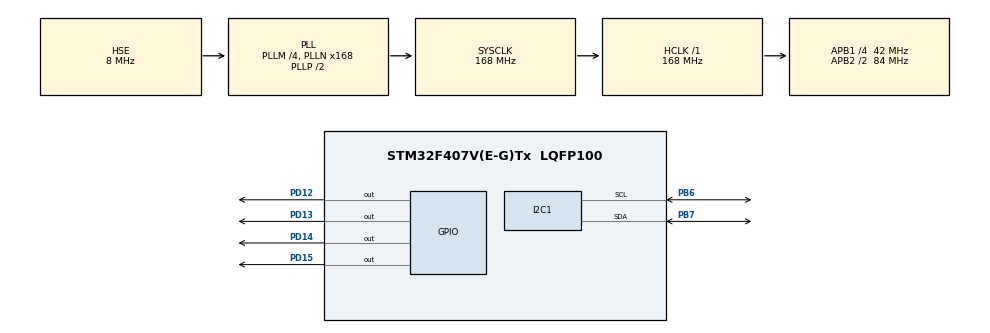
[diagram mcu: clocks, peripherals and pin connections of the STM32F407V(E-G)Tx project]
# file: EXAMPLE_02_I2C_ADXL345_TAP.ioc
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Mcu.Family=STM32F4
Mcu.Name=STM32F407V(E-G)Tx
Mcu.Package=LQFP100
NVIC.PriorityGroup=NVIC_PRIORITYGROUP_4
PB6.Mode=I2C
PB6.Signal=I2C1_SCL
PB7.Mode=I2C
PB7.Signal=I2C1_SDA
PD12.Signal=GPIO_Output
PD13.Signal=GPIO_Output
PD14.Signal=GPIO_Output
PD15.Signal=GPIO_Output
PH0-OSC_IN.Mode=HSE-External-Oscillator
PH0-OSC_IN.Signal=RCC_OSC_IN
PH1-OSC_OUT.Mode=HSE-External-Oscillator
PH1-OSC_OUT.Signal=RCC_OSC_OUT
ProjectManager.HeapSize=0x200
ProjectManager.StackSize=0x400
ProjectManager.TargetToolchain=STM32CubeIDE
RCC.48MHZClocksFreq_Value=84000000
RCC.AHBFreq_Value=168000000
RCC.APB1CLKDivider=RCC_HCLK_DIV4
RCC.APB1Freq_Value=42000000
RCC.APB1TimFreq_Value=84000000
RCC.APB2CLKDivider=RCC_HCLK_DIV2
RCC.APB2Freq_Value=84000000
RCC.APB2TimFreq_Value=168000000
RCC.CortexFreq_Value=168000000
RCC.HCLKFreq_Value=168000000
RCC.HSE_VALUE=8000000
RCC.HSI_VALUE=16000000
RCC.LSE_VALUE=32768
RCC.PLLM=4
RCC.PLLN=168
RCC.PLLSourceVirtual=RCC_PLLSOURCE_HSE
RCC.SYSCLKFreq_VALUE=168000000
RCC.SYSCLKSource=RCC_SYSCLKSOURCE_PLLCLK
RCC.VCOOutputFreq_Value=336000000
board=custom

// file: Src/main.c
/* USER CODE BEGIN Header */
/**
  ******************************************************************************
  * @file           : main.c
  * @brief          : Main program body
  ******************************************************************************
  * @attention
  *
  * <h2><center>&copy; Copyright (c) 2019 STMicroelectronics.
  * All rights reserved.</center></h2>
  *
  * This software component is licensed by ST under BSD 3-Clause license,
  * the "License"; You may not use this file except in compliance with the
  * License. You may obtain a copy of the License at:
  *                        opensource.org/licenses/BSD-3-Clause
  *
  ******************************************************************************
  */
/* USER CODE END Header */

#include "main.h"

/* USER CODE BEGIN Includes */

#define ADXL_Address 0x53 << 1	// Ya da 0xA6 olarak kullanabilirsin

/* USER CODE END Includes */

I2C_HandleTypeDef hi2c1;

/* USER CODE BEGIN PV */

uint8_t i;
uint8_t status;
uint8_t data_rec;

/* USER CODE END PV */

void SystemClock_Config(void);
static void MX_GPIO_Init(void);
static void MX_I2C1_Init(void);
/* USER CODE BEGIN PFP */

void SCAN_I2C_Slave_Address();
void ADXL_Init();
void ADXL_Write(uint8_t reg, uint8_t value);
uint8_t ADXL_Read(uint8_t reg, uint8_t numberOfBytes);

/* USER CODE END PFP */

int main(void)
{

  /* MCU Configuration--------------------------------------------------------*/

  /* Reset of all peripherals, Initializes the Flash interface and the Systick. */
  HAL_Init();

  /* Configure the system clock */
  SystemClock_Config();

  /* Initialize all configured peripherals */
  MX_GPIO_Init();
  MX_I2C1_Init();
  /* USER CODE BEGIN 2 */

  //SCAN_I2C_Slave_Address();

  ADXL_Init();

  /* USER CODE END 2 */

  /* Infinite loop */
  while (1)
  {

    /* USER CODE BEGIN 3 */
	  status = ADXL_Read(0x30, 1);	// interrupt source register(0x30)

	  if((status >> 5) & 0x01)
	  {
		  // Double tap
		  HAL_GPIO_TogglePin(GPIOD, GPIO_PIN_13 | GPIO_PIN_15);
	  }
	  else if((status >> 6) & 0x01)
	  {
		  // Single tap
		  HAL_GPIO_TogglePin(GPIOD, GPIO_PIN_12 | GPIO_PIN_14);
	  }
  }
  /* USER CODE END 3 */
}

void SystemClock_Config(void)
{
  RCC_OscInitTypeDef RCC_OscInitStruct = {0};
  RCC_ClkInitTypeDef RCC_ClkInitStruct = {0};

  /** Configure the main internal regulator output voltage
  */
  __HAL_RCC_PWR_CLK_ENABLE();
  __HAL_PWR_VOLTAGESCALING_CONFIG(PWR_REGULATOR_VOLTAGE_SCALE1);
  /** Initializes the CPU, AHB and APB busses clocks
  */
  RCC_OscInitStruct.OscillatorType = RCC_OSCILLATORTYPE_HSE;
  RCC_OscInitStruct.HSEState = RCC_HSE_ON;
  RCC_OscInitStruct.PLL.PLLState = RCC_PLL_ON;
  RCC_OscInitStruct.PLL.PLLSource = RCC_PLLSOURCE_HSE;
  RCC_OscInitStruct.PLL.PLLM = 4;
  RCC_OscInitStruct.PLL.PLLN = 168;
  RCC_OscInitStruct.PLL.PLLP = RCC_PLLP_DIV2;
  RCC_OscInitStruct.PLL.PLLQ = 4;
  if (HAL_RCC_OscConfig(&RCC_OscInitStruct) != HAL_OK)
  {
    Error_Handler();
  }
  /** Initializes the CPU, AHB and APB busses clocks
  */
  RCC_ClkInitStruct.ClockType = RCC_CLOCKTYPE_HCLK|RCC_CLOCKTYPE_SYSCLK
                              |RCC_CLOCKTYPE_PCLK1|RCC_CLOCKTYPE_PCLK2;
  RCC_ClkInitStruct.SYSCLKSource = RCC_SYSCLKSOURCE_PLLCLK;
  RCC_ClkInitStruct.AHBCLKDivider = RCC_SYSCLK_DIV1;
  RCC_ClkInitStruct.APB1CLKDivider = RCC_HCLK_DIV4;
  RCC_ClkInitStruct.APB2CLKDivider = RCC_HCLK_DIV2;

  if (HAL_RCC_ClockConfig(&RCC_ClkInitStruct, FLASH_LATENCY_5) != HAL_OK)
  {
    Error_Handler();
  }
}

static void MX_I2C1_Init(void)
{

  hi2c1.Instance = I2C1;
  hi2c1.Init.ClockSpeed = 100000;
  hi2c1.Init.DutyCycle = I2C_DUTYCYCLE_2;
  hi2c1.Init.OwnAddress1 = 0;
  hi2c1.Init.AddressingMode = I2C_ADDRESSINGMODE_7BIT;
  hi2c1.Init.DualAddressMode = I2C_DUALADDRESS_DISABLE;
  hi2c1.Init.OwnAddress2 = 0;
  hi2c1.Init.GeneralCallMode = I2C_GENERALCALL_DISABLE;
  hi2c1.Init.NoStretchMode = I2C_NOSTRETCH_DISABLE;
  if (HAL_I2C_Init(&hi2c1) != HAL_OK)
  {
    Error_Handler();
  }

}

static void MX_GPIO_Init(void)
{
  GPIO_InitTypeDef GPIO_InitStruct = {0};

  /* GPIO Ports Clock Enable */
  __HAL_RCC_GPIOH_CLK_ENABLE();
  __HAL_RCC_GPIOD_CLK_ENABLE();
  __HAL_RCC_GPIOB_CLK_ENABLE();

  /*Configure GPIO pin Output Level */
  HAL_GPIO_WritePin(GPIOD, GPIO_PIN_12|GPIO_PIN_13|GPIO_PIN_14|GPIO_PIN_15, GPIO_PIN_RESET);

  /*Configure GPIO pins : PD12 PD13 PD14 PD15 */
  GPIO_InitStruct.Pin = GPIO_PIN_12|GPIO_PIN_13|GPIO_PIN_14|GPIO_PIN_15;
  GPIO_InitStruct.Mode = GPIO_MODE_OUTPUT_PP;
  GPIO_InitStruct.Pull = GPIO_NOPULL;
  GPIO_InitStruct.Speed = GPIO_SPEED_FREQ_LOW;
  HAL_GPIO_Init(GPIOD, &GPIO_InitStruct);

}

/* USER CODE BEGIN 4 */

void SCAN_I2C_Slave_Address()
{
	for(i = 0; i <= 255; i++)
	{
		if(HAL_I2C_IsDeviceReady(&hi2c1, i, 1, 10) == HAL_OK)
		{
			HAL_GPIO_TogglePin(GPIOD, GPIO_PIN_15);
			break;
		}
	}
}

void ADXL_Init()
{
	// Sensör doğru çalışıyormu diye DEVID kontrol bitindeki veriyi çekip, normalde olması gerekn 0xE5 değerine eşit olup olmadığını kontol ediyorum.
	//uint8_t a = ADXL_Read(0x00, 1);

	// Sensörden değer okuma işlemini başlatmak için öncelikle Power_Ctrl bitlerini resetliyorum
	ADXL_Write(0x2D, 0);

	// Sensörün ölçüm bitini set, wake up bitini reset ve frekansını 8Mhz'e ayarlayarak ölçüm yapmaya hazır hale getiriyorum
	ADXL_Write(0x2D, 0x08);

	// Z eksenini basma algılama için etkinleştiriyorum
	ADXL_Write(0x2A, 0x01);

	// Tek basma eşiğini ayarlıyorum. Gireceğiniz değer ile 62.5mg/LSB çarpılarak g değeri hesaplanır. Örneğin 40*0.0625 = 2.5g
	ADXL_Write(0x1D, 40);

	// Tek basma süresini ayarlıyorum. Gireceğiniz değer ile 625uS/LSB çarpılarak eşik süresi ayarlanır. Örneğin 32*0.000625 = 0.02s
	// bu değer gelen bir etkileşimin dokunma etkileşimi olması için geçmesi gereken maksimum süreyi belirler. DUR register'a yazılır.
	ADXL_Write(0x21, 32);

	// Dokunma gecikmesini ayarlıyorum. 0.1sn'ye ayarlıyorum. Girilen değeri, 1.25ms/LSB ile çarparak gecikme süresi elde edilir. 80*0.00125
	ADXL_Write(0x22, 80);

	// Dokunma penceresi, WINDIW register'a 240 yazarak 0.3sn'ye ayarlıyorum. (.3 / .00125) Bu değer ikinci bir basmanın olabileceği, gecikme
	// süresinin sona ermesinden sonra geçen süreyi temsil eder.
	ADXL_Write(0x23, 240);

	// INT1 pinini INT_MAP Register'a 0 yazarak etkinleştiriyorum.
	ADXL_Write(0x2F, 0x00);

	// int enable reg
	ADXL_Write(0x2E, 0x60);	// Double Tap
}

uint8_t ADXL_Read(uint8_t reg, uint8_t numberOfBytes)
{
	HAL_I2C_Mem_Read(&hi2c1, ADXL_Address, reg, 1, &data_rec, numberOfBytes, 100);
	return data_rec;
}

void ADXL_Write(uint8_t reg, uint8_t value)
{
	uint8_t data[2];
	data[0] = reg;
	data[1] = value;

	HAL_I2C_Master_Transmit(&hi2c1, ADXL_Address, data, 2, 10);
}

/* USER CODE END 4 */

void Error_Handler(void)
{
}

/************************ (C) COPYRIGHT STMicroelectronics *****END OF FILE****/
